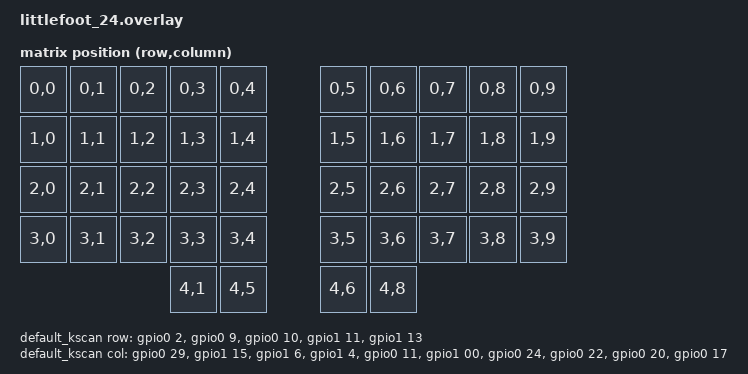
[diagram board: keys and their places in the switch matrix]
#include <dt-bindings/zmk/matrix_transform.h>

/ {
chosen {
        zmk,kscan = &default_kscan;
        zmk,matrix_transform = &default_transform;
    };

    default_kscan: kscan {
        compatible = "zmk,kscan-gpio-matrix";
        label = "default_kscan";
        diode-direction = "col2row";
        wakeup-source;
        
        col-gpios
            = <&gpio0 29 GPIO_ACTIVE_HIGH> // COL0
            , <&gpio1 15 GPIO_ACTIVE_HIGH> // COL1
            , <&gpio1 6 GPIO_ACTIVE_HIGH> // COL2
            , <&gpio1 4 GPIO_ACTIVE_HIGH>  // COL3
            , <&gpio0 11 GPIO_ACTIVE_HIGH>  // COL4
            , <&gpio1 00 GPIO_ACTIVE_HIGH>  // COL5
            , <&gpio0 24 GPIO_ACTIVE_HIGH>  // COL6
            , <&gpio0 22 GPIO_ACTIVE_HIGH>  // COL7
            , <&gpio0 20 GPIO_ACTIVE_HIGH>  // COL8
            , <&gpio0 17 GPIO_ACTIVE_HIGH>  // COL9
        ;
        row-gpios
            = <&gpio0 2 (GPIO_ACTIVE_HIGH | GPIO_PULL_DOWN)> // ROW0
            , <&gpio0 9 (GPIO_ACTIVE_HIGH | GPIO_PULL_DOWN)> // ROW1
            , <&gpio0 10 (GPIO_ACTIVE_HIGH | GPIO_PULL_DOWN)> // ROW2
            , <&gpio1 11 (GPIO_ACTIVE_HIGH | GPIO_PULL_DOWN)> // ROW3
            , <&gpio1 13 (GPIO_ACTIVE_HIGH | GPIO_PULL_DOWN)>  // ROW4
        ;
    };
    
    // (GPIO_ACTIVE_HIGH | GPIO_PULL_DOWN)
    // (GPIO_ACTIVE_LOW | GPIO_PULL_UP)

    default_transform: matrix_transform {
        compatible = "zmk,matrix-transform";
        columns = <10>;
        rows = <5>;

        map = <
            RC(0,0) RC(0,1) RC(0,2) RC(0,3) RC(0,4) RC(0,5) RC(0,6) RC(0,7) RC(0,8) RC(0,9)
            RC(1,0) RC(1,1) RC(1,2) RC(1,3) RC(1,4) RC(1,5) RC(1,6) RC(1,7) RC(1,8) RC(1,9)
            RC(2,0) RC(2,1) RC(2,2) RC(2,3) RC(2,4) RC(2,5) RC(2,6) RC(2,7) RC(2,8) RC(2,9)
            RC(3,0) RC(3,1) RC(3,2) RC(3,3) RC(3,4) RC(3,5) RC(3,6) RC(3,7) RC(3,8) RC(3,9)
            RC(4,1) RC(4,5) RC(4,6) RC(4,8)
        >;
    };
};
